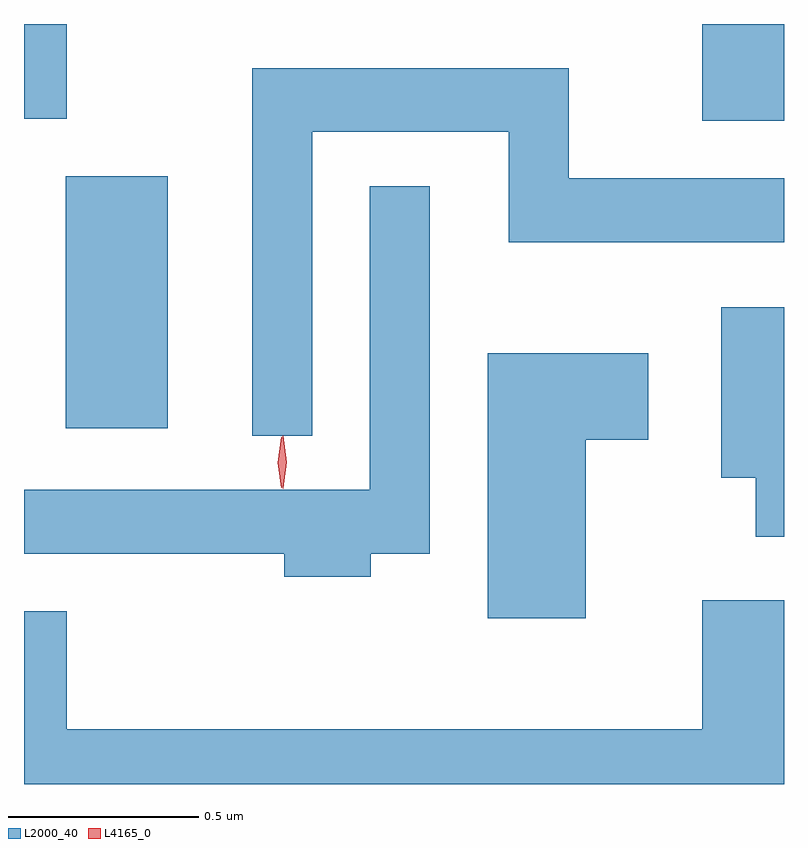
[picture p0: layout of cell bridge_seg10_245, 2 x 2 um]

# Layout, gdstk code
import gdstk
lib = gdstk.Library(unit=1e-6, precision=1e-09)
def R(c, l, rs):  # rectangles x0, y0, x1, y1
    for r in rs: c.add(gdstk.rectangle(r[:2], r[2:], *l))
def P(c, l, *ps):  # polygons
    for p in ps: c.add(gdstk.Polygon(p, *l))
L2000_40 = (2000, 40)
L4165_0 = (4165, 0)

bridge_seg10_245 = lib.new_cell('bridge_seg10_245')
R(bridge_seg10_245, L2000_40, [(1761.126,2086.116,1761.394,2086.779), (1762.801,2086.926,1763.016,2087.18), (1761.016,2086.931,1761.129,2087.18)])
P(bridge_seg10_245, L2000_40, [(1761.774,2086.896),(1762.291,2086.896),(1762.291,2086.606),(1763.016,2086.606),(1763.016,2086.774),(1762.449,2086.774),(1762.449,2087.064),(1761.616,2087.064),(1761.616,2086.097),(1761.774,2086.097)],
  [(1761.929,2085.786),(1762.084,2085.786),(1762.084,2086.753),(1761.926,2086.753),(1761.926,2085.954),(1761.016,2085.954),(1761.016,2085.786),(1761.701,2085.786),(1761.701,2085.726),(1761.929,2085.726)],
  [(1763.016,2086.434),(1762.851,2086.434),(1762.851,2085.986),(1762.941,2085.986),(1762.941,2085.831),(1763.016,2085.831)],
  [(1762.494,2086.086),(1762.659,2086.086),(1762.659,2086.314),(1762.236,2086.314),(1762.236,2085.616),(1762.494,2085.616)],
  [(1763.016,2085.664),(1762.801,2085.664),(1762.801,2085.324),(1761.129,2085.324),(1761.129,2085.634),(1761.016,2085.634),(1761.016,2085.18),(1763.016,2085.18)])
P(bridge_seg10_245, L4165_0, [(1761.698,2085.957),(1761.697,2085.958),(1761.688,2086.027),(1761.697,2086.096),(1761.697,2086.096),(1761.698,2086.096),(1761.708,2086.027),(1761.698,2085.958)],
  [(1761.694,2085.959),(1761.693,2085.96),(1761.684,2086.026),(1761.693,2086.092),(1761.694,2086.093),(1761.694,2086.092),(1761.704,2086.026),(1761.694,2085.96)])

lib.write_gds('bridge_seg10_245.gds')
